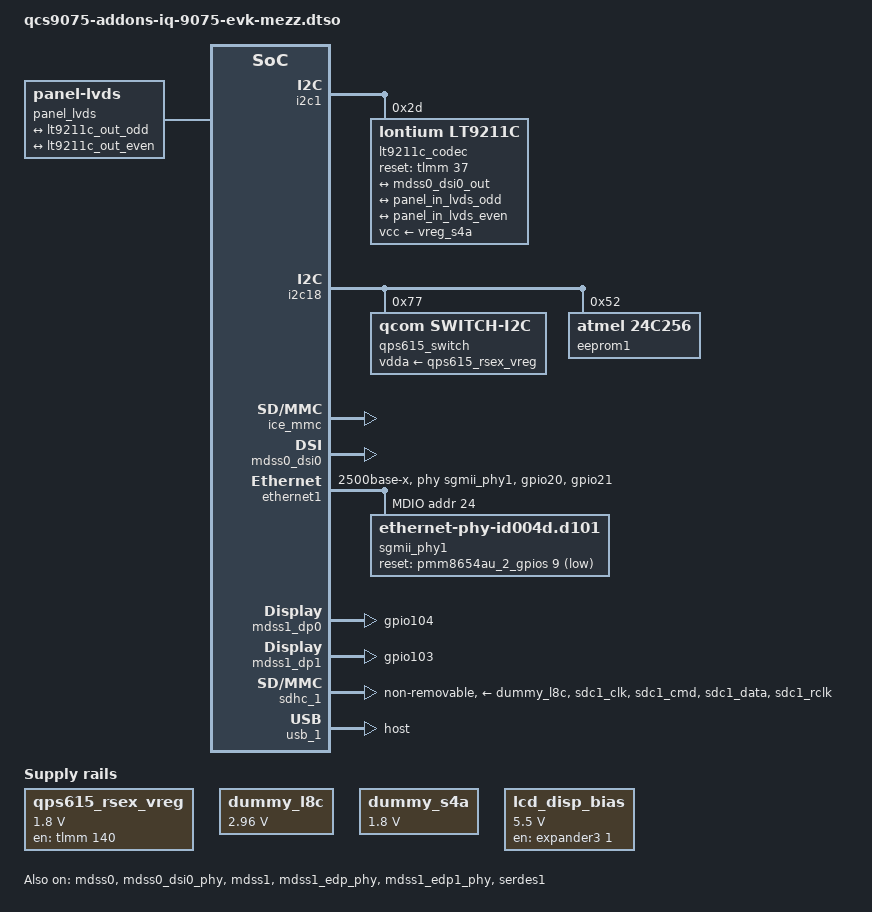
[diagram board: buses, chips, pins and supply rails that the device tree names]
// SPDX-License-Identifier: BSD-3-Clause
/*
 * Copyright (c) 2025 Qualcomm Innovation Center, Inc. All rights reserved.
 * Copyright (c) Qualcomm Technologies, Inc. and/or its subsidiaries.
 */

/dts-v1/;
/plugin/;

#include <dt-bindings/gpio/gpio.h>
#include <dt-bindings/interrupt-controller/irq.h>

&{/} {
	model = "Qualcomm Technologies, Inc. IQ-9075-evk Addons Mezzanine";
	qcom,board-id = <0x00010020 1>, <0x00010019 1>;

	qps615_rsex_vreg: qps615-rsex-vreg {
	        compatible = "regulator-fixed";
	        regulator-name = "qps615_rsex_vreg";
	        gpio = <&tlmm 140 GPIO_ACTIVE_HIGH>;
	        regulator-min-microvolt = <1800000>;
	        regulator-max-microvolt = <1800000>;
	        enable-active-high;
	        regulator-enable-ramp-delay = <10000>;
	};

	dummy_l8c: dummy-l8c {
		compatible = "regulator-fixed";
		regulator-name = "dummy-l8c";

		regulator-min-microvolt = <2960000>;
		regulator-max-microvolt = <2960000>;
	};

	dummy_s4a: dummy-s4a {
		compatible = "regulator-fixed";
		regulator-name = "dummy-s4a";

		regulator-min-microvolt = <1800000>;
		regulator-max-microvolt = <1800000>;
	};

	panel_lvds: panel-lvds@0 {
		compatible = "panel-lvds";

		data-mapping = "vesa-24";

		width-mm = <476>;
		height-mm = <268>;

		status = "okay";

		panel-timing {
			clock-frequency = <148500000>;
			hactive = <1920>;
			vactive = <1080>;
			hfront-porch = <88>;
			hback-porch = <148>;
			hsync-len = <44>;
			vfront-porch = <4>;
			vback-porch = <36>;
			vsync-len = <5>;
			de-active = <1>;
		};

		ports {
			#address-cells = <1>;
			#size-cells = <0>;

			port@0 {
				reg = <0>;

				dual-lvds-odd-pixels;
				panel_in_lvds_odd: endpoint {
					remote-endpoint = <&lt9211c_out_odd>;
				};
			};

			port@1 {
				reg = <1>;

				dual-lvds-even-pixels;
				panel_in_lvds_even: endpoint {
					remote-endpoint = <&lt9211c_out_even>;
				};
			};
		};
	};

	lcd_disp_bias: regulator-lcd-disp-bias {
		compatible = "regulator-fixed";
		regulator-name = "lcd_disp_bias";
		regulator-min-microvolt = <5500000>;
		regulator-max-microvolt = <5500000>;
		gpio = <&expander3 1 GPIO_ACTIVE_HIGH>;
		enable-active-high;
	};

};

&connector_usb1 {
	status = "disabled";
};

&i2c1 {
	qcom,load-firmware;
	qcom,xfer-mode = <1>;
	pinctrl-names = "default";
	pinctrl-0 = <&qup_i2c1_default>;

	status = "okay";

	lt9211c_codec: lvds-bridge@2d {
		compatible = "lontium,lt9211c";
		reg = <0x2d>;
		reset-gpios = <&tlmm 37 GPIO_ACTIVE_HIGH>;
		vcc-supply = <&vreg_s4a>;

		status = "okay";

		ports {
			#address-cells = <1>;
			#size-cells = <0>;

			port@0 {
				reg = <0>;

				lt9211c_in: endpoint {
					data-lanes = <0 1 2 3>;
					remote-endpoint = <&mdss0_dsi0_out>;
				};
			};

			port@2 {
				reg = <2>;

				lt9211c_out_odd: endpoint {
					remote-endpoint = <&panel_in_lvds_odd>;
				};
			};

			port@3 {
				reg = <3>;

				lt9211c_out_even: endpoint {
					remote-endpoint = <&panel_in_lvds_even>;
				};
			};
		};
	};

};

&i2c18 {
    qps615_switch: pcie-switch@77 {
        compatible = "qcom,switch-i2c";
        reg = <0x77>;
        vdda-supply = <&qps615_rsex_vreg>;

        status = "okay";
	};

	eeprom1: eeprom@52 {
		compatible = "atmel,24c256";
		reg = <0x52>;
		pagesize = <64>;
		#address-cells = <1>;
		#size-cells = <1>;

		nvmem-layout {
			compatible = "fixed-layout";
			#address-cells = <1>;
			#size-cells = <1>;

			mac_addr1: mac-addr@0 {
				reg = <0x0 0x6>;
			};

			mac_addr2: mac-addr@6 {
				reg = <0x6 0x6>;
			};

			mac_addr3: mac-addr@c {
				reg = <0xc 0x6>;
			};
		};
	};
};

&ice_mmc {
	status = "okay";
};

&mdss0 {
	status = "okay";
};

&mdss0_dsi0 {
	vdda-supply = <&vreg_l1c>;
	power-supply = <&lcd_disp_bias>;
	status = "okay";
};

&mdss0_dsi0_out {
	data-lanes = <0 1 2 3>;
	remote-endpoint = <&lt9211c_in>;
};

&mdss0_dsi0_phy {
	vdds-supply = <&vreg_l4a>;
	status = "okay";
};

&pcie0 {
	dummy-supply = <&qps615_switch>;
	iommu-map = <0x0 &apps_smmu 0x0000 0x1>,
		<0x100 &pcie_smmu 0x0001 0x1>,
		<0x208 &pcie_smmu 0x0002 0x1>,
		<0x210 &pcie_smmu 0x0003 0x1>,
		<0x218 &pcie_smmu 0x0004 0x1>,
		<0x300 &pcie_smmu 0x0005 0x1>,
		<0x400 &pcie_smmu 0x0006 0x1>,
		<0x500 &pcie_smmu 0x0007 0x1>,
		<0x501 &pcie_smmu 0x0008 0x1>;

	pcieport0: pcie@0 {
		device_type = "pci";
		reg = <0x0 0x0 0x0 0x0 0x0>;
		#address-cells = <5>;
		#size-cells = <0>;

		wake-gpios = <&tlmm 0 GPIO_ACTIVE_HIGH>;

		/* BDF 1.0.0 */
		pcie0_bus1_dev0_fn0: pcie0_bus1_dev0_fn0 {
			reg = <0 0 0 0 0>;

			/* BDF 2.1.0 */
			pcie0_bus2_dev1_fn0: pcie0_bus2_dev1_fn0 {
				reg = <0x800 0x0 0x0 0x0 0x0>;

				/* BDF 3.0.0 */
				pcie0_bus3_dev0_fn0: pcie0_bus3_dev0_fn0 {
					reg = <0x0 0x0 0x0 0x0 0x0>;
				};
			};

			/* BDF 2.2.0 */
			pcie0_bus2_dev2_fn0: pcie0_bus2_dev2_fn0 {
				reg = <0x1000 0x0 0x0 0x0 0x0>;

				/* BDF 4.0.0 */
				pcie0_bus4_dev0_fn0: pcie0_bus4_dev0_fn0 {
					reg = <0x0 0x0 0x0 0x0 0x0>;
				};
			};

			/* BDF 2.3.0 */
			pcie0_bus2_dev3_fn0: pcie0_bus2_dev3_fn0 {
				reg = <0x1800 0x0 0x0 0x0 0x0>;
				qps615_eth0,qps615_eth0@pcie0_rp {
					reg = <0x0 0x0 0x0 0x0 0x0>;
				};

				/* BDF 5.0.0 */
				pcie0_bus5_dev0_fn0: pcie0_qps_eth0 {
					reg = <0x0 0x0 0x0 0x0 0x0>;
					nvmem-cells = <&mac_addr2>;
					nvmem-cell-names = "mac-address";
					pinctrl-names = "default";
					pinctrl-0 = <&aqr_intn_wol_sig>;
					phy-rst-som-gpios = <&tlmm 28 GPIO_ACTIVE_HIGH>;
					interrupts-extended = <&tlmm 56 IRQ_TYPE_EDGE_FALLING>;
					interrupt-names = "wol_irq";
					qcom,always-on-supply;
					qcom,phy-rst-delay-us = <221000>;
					#address-cells = <1>;
					#size-cells = <1>;

					qcom,iommu-group = <&eth0_pci_iommu_group>;
					eth0_pci_iommu_group: eth0_pci_iommu_group {
						qcom,iommu-dma = "atomic";
					};
				};

				qps615_eth1,qps615_eth1@pcie0_rp {
					reg = <0x100 0x0 0x0 0x0 0x0>;
				};

				/* BDF 5.0.1 */
				pcie0_bus5_dev0_fn1: pcie0_qps_eth1 {
					reg = <0x100 0x0 0x0 0x0 0x0>;
					nvmem-cells = <&mac_addr3>;
					nvmem-cell-names = "mac-address";
					pinctrl-names = "default";
					pinctrl-0 = <&napa_intn_wol_sig>;
					phy-rst-som-gpios = <&pmm8654au_3_gpios 8 GPIO_ACTIVE_HIGH>;
					interrupts-extended = <&tlmm 57 IRQ_TYPE_EDGE_FALLING>;
					interrupt-names = "wol_irq";
					qcom,always-on-supply;
					qcom,phy-rst-delay-us = <20000>;
					#address-cells = <1>;
					#size-cells = <1>;

					qcom,iommu-group = <&eth1_pci_iommu_group>;
					eth1_pci_iommu_group: eth1_pci_iommu_group {
						qcom,iommu-dma = "atomic";
					};
				};
			};
		};
	};
};

&ethernet1 {
	phy-handle = <&sgmii_phy1>;
	phy-mode = "2500base-x";

	pinctrl-0 = <&ethernet1_default>;
	pinctrl-names = "default";

	snps,mtl-rx-config = <&mtl_rx_setup1>;
	snps,mtl-tx-config = <&mtl_tx_setup1>;
	snps,ps-speed = <1000>;
	nvmem-cells = <&mac_addr1>;
	nvmem-cell-names = "mac-address";

	status = "okay";

	mdio1 {
		compatible = "snps,dwmac-mdio";
		#address-cells = <1>;
		#size-cells = <0>;

		sgmii_phy1: phy@18 {
			compatible = "ethernet-phy-id004d.d101";
			reg = <0x18>;
			device_type = "ethernet-phy";
			reset-gpios = <&pmm8654au_2_gpios 9 GPIO_ACTIVE_LOW>;
			reset-assert-us = <11000>;
			reset-deassert-us = <70000>;
		};
	};

	mtl_rx_setup1: rx-queues-config {
		snps,rx-queues-to-use = <4>;
		snps,rx-sched-sp;

		queue0 {
			snps,dcb-algorithm;
			snps,map-to-dma-channel = <0x0>;
			snps,route-up;
			snps,priority = <0x1>;
		};

		queue1 {
			snps,dcb-algorithm;
			snps,map-to-dma-channel = <0x1>;
			snps,route-ptp;
		};

		queue2 {
			snps,avb-algorithm;
			snps,map-to-dma-channel = <0x2>;
			snps,route-avcp;
		};

		queue3 {
			snps,avb-algorithm;
			snps,map-to-dma-channel = <0x3>;
			snps,priority = <0xc>;
		};
	};

	mtl_tx_setup1: tx-queues-config {
		snps,tx-queues-to-use = <4>;
		snps,tx-sched-sp;

		queue0 {
			snps,dcb-algorithm;
		};

		queue1 {
			snps,dcb-algorithm;
		};

		queue2 {
			snps,avb-algorithm;
			snps,send_slope = <0x1000>;
			snps,idle_slope = <0x1000>;
			snps,high_credit = <0x3e800>;
			snps,low_credit = <0xffc18000>;
		};

		queue3 {
			snps,avb-algorithm;
			snps,send_slope = <0x1000>;
			snps,idle_slope = <0x1000>;
			snps,high_credit = <0x3e800>;
			snps,low_credit = <0xffc18000>;
		};
	};
};

&mdss1 {
	status = "okay";
};

&mdss1_dp0 {
	pinctrl-0 = <&dp2_hot_plug_det>;
	pinctrl-names = "default";
	status = "okay";
};

&mdss1_dp1 {
	pinctrl-0 = <&dp3_hot_plug_det>;
	pinctrl-names = "default";
	status = "okay";
};

&mdss1_dp0_out {
	data-lanes = <0 1 2 3>;
	link-frequencies = /bits/ 64 <1620000000 2700000000 5400000000 8100000000>;
};

&mdss1_dp1_out {
	data-lanes = <0 1 2 3>;
	link-frequencies = /bits/ 64 <1620000000 2700000000 5400000000 8100000000>;
};

&mdss1_edp_phy {
	status = "okay";
};

&mdss1_edp1_phy {
	status = "okay";
};

&sdhc_1 {
	vmmc-supply = <&dummy_l8c>;
	vqmmc-supply = <&dummy_s4a>;

	no-sd;
	no-sdio;

	non-removable;

	pinctrl-names = "default", "sleep";
	pinctrl-0 = <&sdc1_clk>, <&sdc1_cmd>, <&sdc1_data>, <&sdc1_rclk>;
	pinctrl-1 = <&sdc1_clk_sleep>, <&sdc1_cmd_sleep>, <&sdc1_data_sleep>, <&sdc1_rclk_sleep>;
	status = "okay";
};

&sdhc_2 {
	status = "disabled";
};

&serdes1 {
	phy-supply = <&vreg_l5a>;
	status = "okay";
};

&tlmm {
	dp2_hot_plug_det: dp2-hot-plug-det-state {
		pins = "gpio104";
		function = "edp2_hot";
		bias-disable;
	};

	dp3_hot_plug_det: dp3-hot-plug-det-state {
		pins = "gpio103";
		function = "edp3_hot";
		bias-disable;
	};

	ethernet1_default: ethernet1-default-state {
		ethernet1_mdc: ethernet1-mdc-pins {
			pins = "gpio20";
			function = "emac1_mdc";
			drive-strength = <16>;
			bias-pull-up;
		};

		ethernet1_mdio: ethernet1-mdio-pins {
			pins = "gpio21";
			function = "emac1_mdio";
			drive-strength = <16>;
			bias-pull-up;
		};
	};

	qps615_intn_wol {
		aqr_intn_wol_sig: aqr-intn-wol-sig {
				pins = "gpio56";
				function = "gpio";
				input-enable;
				bias-disable;
		};

		napa_intn_wol_sig: napa-intn-wol-sig {
				pins = "gpio57";
				function = "gpio";
				input-enable;
				bias-disable;
		};
	};

	sdc1_clk: sdc1-clk-state {
		pins = "sdc1_clk";
		bias-disable;
		drive-strength = <16>;
	};

	sdc1_cmd: sdc1-cmd-state {
		pins = "sdc1_cmd";
		bias-pull-up;
		drive-strength = <10>;
	};

	sdc1_data: sdc1-data-state {
		pins = "sdc1_data";
		bias-pull-up;
		drive-strength = <10>;
	};

	sdc1_rclk: sdc1-rclk-state {
		pins = "sdc1_rclk";
		bias-pull-down;
	};

	sdc1_clk_sleep: sdc1-clk-sleep-state {
		pins = "sdc1_clk";
		drive-strength = <2>;
		bias-bus-hold;
	};

	sdc1_cmd_sleep: sdc1-cmd-sleep-state {
		pins = "sdc1_cmd";
		drive-strength = <2>;
		bias-bus-hold;
	};

	sdc1_data_sleep: sdc1-data-sleep-state {
		pins = "sdc1_data";
		drive-strength = <2>;
		bias-bus-hold;
	};

	sdc1_rclk_sleep: sdc1-rclk-sleep-state {
		pins = "sdc1_rclk";
		drive-strength = <2>;
		bias-bus-hold;
	};

};

&usb1_id_det_default {
	status = "disabled";
};

&usb_1 {
	dr_mode = "host";
	vbus_dwc3-supply = <&vbus_supply_regulator_1>;

	ports {
		status = "disabled";
	};
};
